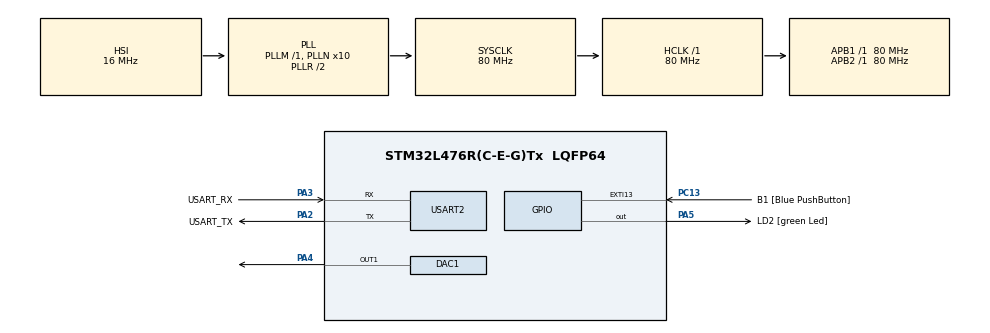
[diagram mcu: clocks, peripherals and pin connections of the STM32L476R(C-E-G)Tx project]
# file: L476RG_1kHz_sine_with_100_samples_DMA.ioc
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Mcu.Family=STM32L4
PA2.GPIO_PuPd=GPIO_NOPULL
RCC.CortexFreq_Value=80000000
PH0-OSC_IN\ (PH0).Signal=RCC_OSC_IN
PA3.GPIO_PuPd=GPIO_NOPULL
PA2.GPIO_Speed=GPIO_SPEED_FREQ_VERY_HIGH
PC15-OSC32_OUT\ (PC15).Mode=LSE-External-Oscillator
PC13.GPIO_Label=B1 [Blue PushButton]
PA3.GPIO_Speed=GPIO_SPEED_FREQ_VERY_HIGH
RCC.SYSCLKSource=RCC_SYSCLKSOURCE_PLLCLK
ProjectManager.StackSize=0x400
PB3\ (JTDO-TRACESWO).Signal=SYS_JTDO-SWO
PC14-OSC32_IN\ (PC14).Mode=LSE-External-Oscillator
NVIC.DMA1_Channel3_IRQn=true\:0\:0\:false\:false\:true\:false\:true
PA14\ (JTCK-SWCLK).Signal=SYS_JTCK-SWCLK
Dma.DAC_CH1.0.Instance=DMA1_Channel3
RCC.HCLKFreq_Value=80000000
RCC.APB2TimFreq_Value=80000000
RCC.AHBFreq_Value=80000000
RCC.PREFETCH_ENABLE=1
RCC.HSE_VALUE=8000000
USART2.VirtualMode-Asynchronous=VM_ASYNC
PA5.GPIO_PuPd=GPIO_NOPULL
PC13.GPIO_PuPd=GPIO_NOPULL
Dma.DAC_CH1.0.PeriphDataAlignment=DMA_PDATAALIGN_HALFWORD
TIM6.Period=799
Mcu.Package=LQFP64
PA2.GPIO_Label=USART_TX
Dma.DAC_CH1.0.Priority=DMA_PRIORITY_LOW
RCC.APB1TimFreq_Value=80000000
PA13\ (JTMS-SWDIO).Signal=SYS_JTMS-SWDIO
Dma.Request0=DAC_CH1
PA3.Signal=USART2_RX
PA2.GPIO_Mode=GPIO_MODE_AF_PP
RCC.MSI_VALUE=4000000
RCC.PLLSourceVirtual=RCC_PLLSOURCE_HSI
PA14\ (JTCK-SWCLK).Mode=Serial_Wire
Dma.DAC_CH1.0.Mode=DMA_CIRCULAR
Dma.DAC_CH1.0.MemDataAlignment=DMA_MDATAALIGN_HALFWORD
PC13.Signal=GPXTI13
VP_TIM6_VS_ClockSourceINT.Mode=Enable_Timer
PC15-OSC32_OUT\ (PC15).Signal=RCC_OSC32_OUT
PA14\ (JTCK-SWCLK).GPIO_Label=TCK
PB3\ (JTDO-TRACESWO).GPIO_Label=SWO
PH1-OSC_OUT\ (PH1).Signal=RCC_OSC_OUT
PA3.Mode=Asynchronous
TIM6.AutoReloadPreload=TIM_AUTORELOAD_PRELOAD_DISABLE
Dma.DAC_CH1.0.Direction=DMA_MEMORY_TO_PERIPH
ProjectManager.TargetToolchain=STM32CubeIDE
PA3.GPIO_Mode=GPIO_MODE_AF_PP
SH.COMP_DAC11_group.0=DAC1_OUT1,DAC_OUT1
Dma.DAC_CH1.0.MemInc=DMA_MINC_ENABLE
RCC.USBFreq_Value=64000000
PA5.Signal=GPIO_Output
board=NUCLEO-L476RG
RCC.VCOOutputFreq_Value=160000000
RCC.APB2Freq_Value=80000000
PA5.GPIO_ModeDefaultOutputPP=GPIO_MODE_OUTPUT_PP
PA13\ (JTMS-SWDIO).GPIO_Label=TMS
RCC.ADCFreq_Value=64000000
TIM6.TIM_MasterOutputTrigger=TIM_TRGO_UPDATE
DAC1.DAC_Trigger-DAC_OUT1=DAC_TRIGGER_T6_TRGO
Mcu.Name=STM32L476R(C-E-G)Tx
PA2.Signal=USART2_TX
PA13\ (JTMS-SWDIO).Mode=Serial_Wire
Dma.DAC_CH1.0.PeriphInc=DMA_PINC_DISABLE
PA4.Signal=COMP_DAC11_group
RCC.SYSCLKFreq_VALUE=80000000
PA5.GPIO_Label=LD2 [green Led]
PC13.GPIO_ModeDefaultEXTI=GPIO_MODE_IT_FALLING
PC14-OSC32_IN\ (PC14).Signal=RCC_OSC32_IN
ProjectManager.HeapSize=0x200
RCC.HSI_VALUE=16000000
PA5.GPIO_Speed=GPIO_SPEED_FREQ_LOW
NVIC.PriorityGroup=NVIC_PRIORITYGROUP_4
RCC.PLLN=10
PA2.Mode=Asynchronous
RCC.APB1Freq_Value=80000000
PA3.GPIO_Label=USART_RX

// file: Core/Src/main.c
/* USER CODE BEGIN Header */
/**
  ******************************************************************************
  * @file           : main.c
  * @brief          : Main program body
  ******************************************************************************
  * @attention
  *
  * <h2><center>&copy; Copyright (c) 2021 STMicroelectronics.
  * All rights reserved.</center></h2>
  *
  * This software component is licensed by ST under BSD 3-Clause license,
  * the "License"; You may not use this file except in compliance with the
  * License. You may obtain a copy of the License at:
  *                        opensource.org/licenses/BSD-3-Clause
  *
  ******************************************************************************
  */
/* USER CODE END Header */
#include "main.h"

DAC_HandleTypeDef hdac1;
DMA_HandleTypeDef hdma_dac_ch1;

TIM_HandleTypeDef htim6;

UART_HandleTypeDef huart2;

void SystemClock_Config(void);
static void MX_GPIO_Init(void);
static void MX_DMA_Init(void);
static void MX_USART2_UART_Init(void);
static void MX_DAC1_Init(void);
static void MX_TIM6_Init(void);

/* USER CODE BEGIN 0 */
static int16_t sine[100] = {
		0x0400, 0x0440, 0x0480, 0x04bf, 0x04fe, 0x053c, 0x0578, 0x05b3, 0x05ec, 0x0624, 0x0659, 0x068c, 0x06bc, 0x06e9, 0x0714, 0x073b,
		0x075f, 0x0780, 0x079d, 0x07b7, 0x07cc, 0x07de, 0x07ec, 0x07f6, 0x07fc, 0x07ff, 0x07fc, 0x07f6, 0x07ec, 0x07de, 0x07cc, 0x07b7,
		0x079d, 0x0780, 0x075f, 0x073b, 0x0714, 0x06e9, 0x06bc, 0x068c, 0x0659, 0x0624, 0x05ec, 0x05b3, 0x0578, 0x053c, 0x04fe, 0x04bf,
		0x0480, 0x0440, 0x0400, 0x03bf, 0x037f, 0x0340, 0x0301, 0x02c3, 0x0287, 0x024c, 0x0213, 0x01db, 0x01a6, 0x0173, 0x0143, 0x0116,
		0x00eb, 0x00c4, 0x00a0, 0x007f, 0x0062, 0x0048, 0x0033, 0x0021, 0x0013, 0x0009, 0x0003, 0x0001, 0x0003, 0x0009, 0x0013, 0x0021,
		0x0033, 0x0048, 0x0062, 0x007f, 0x00a0, 0x00c4, 0x00eb, 0x0116, 0x0143, 0x0173, 0x01a6, 0x01db, 0x0213, 0x024c, 0x0287, 0x02c3,
		0x0301, 0x0340, 0x037f, 0x03bf,

};

static void
setSampleRate(int freq)
{
  int period = (80000000 / freq) - 1;

  htim6.Instance = TIM6;
  htim6.Init.Prescaler = 0;
  htim6.Init.CounterMode = TIM_COUNTERMODE_UP;
  htim6.Init.Period = period;
  htim6.Init.ClockDivision = TIM_CLOCKDIVISION_DIV1;
  htim6.Init.AutoReloadPreload = TIM_AUTORELOAD_PRELOAD_DISABLE;
  HAL_TIM_Base_Init(&htim6);
}

/* USER CODE END 0 */

int main(void)
{

  /* MCU Configuration--------------------------------------------------------*/

  /* Reset of all peripherals, Initializes the Flash interface and the Systick. */
  HAL_Init();

  /* Configure the system clock */
  SystemClock_Config();

  /* Initialize all configured peripherals */
  MX_GPIO_Init();
  MX_DMA_Init();
  MX_USART2_UART_Init();
  MX_DAC1_Init();
  MX_TIM6_Init();
  /* USER CODE BEGIN 2 */

  //setSampleRate(100000); // 100 * 1000 samples per second
  HAL_DAC_Start_DMA(&hdac1, DAC_CHANNEL_1, (uint32_t*)sine, 100, DAC_ALIGN_12B_R);
  HAL_TIM_Base_Start(&htim6);

  /* USER CODE END 2 */

  /* Infinite loop */
  while (1)
  {

  }
}

void SystemClock_Config(void)
{
  RCC_OscInitTypeDef RCC_OscInitStruct = {0};
  RCC_ClkInitTypeDef RCC_ClkInitStruct = {0};
  RCC_PeriphCLKInitTypeDef PeriphClkInit = {0};

  /** Initializes the RCC Oscillators according to the specified parameters
  * in the RCC_OscInitTypeDef structure.
  */
  RCC_OscInitStruct.OscillatorType = RCC_OSCILLATORTYPE_HSI;
  RCC_OscInitStruct.HSIState = RCC_HSI_ON;
  RCC_OscInitStruct.HSICalibrationValue = RCC_HSICALIBRATION_DEFAULT;
  RCC_OscInitStruct.PLL.PLLState = RCC_PLL_ON;
  RCC_OscInitStruct.PLL.PLLSource = RCC_PLLSOURCE_HSI;
  RCC_OscInitStruct.PLL.PLLM = 1;
  RCC_OscInitStruct.PLL.PLLN = 10;
  RCC_OscInitStruct.PLL.PLLP = RCC_PLLP_DIV7;
  RCC_OscInitStruct.PLL.PLLQ = RCC_PLLQ_DIV2;
  RCC_OscInitStruct.PLL.PLLR = RCC_PLLR_DIV2;
  if (HAL_RCC_OscConfig(&RCC_OscInitStruct) != HAL_OK)
  {
    Error_Handler();
  }
  /** Initializes the CPU, AHB and APB buses clocks
  */
  RCC_ClkInitStruct.ClockType = RCC_CLOCKTYPE_HCLK|RCC_CLOCKTYPE_SYSCLK
                              |RCC_CLOCKTYPE_PCLK1|RCC_CLOCKTYPE_PCLK2;
  RCC_ClkInitStruct.SYSCLKSource = RCC_SYSCLKSOURCE_PLLCLK;
  RCC_ClkInitStruct.AHBCLKDivider = RCC_SYSCLK_DIV1;
  RCC_ClkInitStruct.APB1CLKDivider = RCC_HCLK_DIV1;
  RCC_ClkInitStruct.APB2CLKDivider = RCC_HCLK_DIV1;

  if (HAL_RCC_ClockConfig(&RCC_ClkInitStruct, FLASH_LATENCY_4) != HAL_OK)
  {
    Error_Handler();
  }
  PeriphClkInit.PeriphClockSelection = RCC_PERIPHCLK_USART2;
  PeriphClkInit.Usart2ClockSelection = RCC_USART2CLKSOURCE_PCLK1;
  if (HAL_RCCEx_PeriphCLKConfig(&PeriphClkInit) != HAL_OK)
  {
    Error_Handler();
  }
  /** Configure the main internal regulator output voltage
  */
  if (HAL_PWREx_ControlVoltageScaling(PWR_REGULATOR_VOLTAGE_SCALE1) != HAL_OK)
  {
    Error_Handler();
  }
}

static void MX_DAC1_Init(void)
{

  DAC_ChannelConfTypeDef sConfig = {0};

  /** DAC Initialization
  */
  hdac1.Instance = DAC1;
  if (HAL_DAC_Init(&hdac1) != HAL_OK)
  {
    Error_Handler();
  }
  /** DAC channel OUT1 config
  */
  sConfig.DAC_SampleAndHold = DAC_SAMPLEANDHOLD_DISABLE;
  sConfig.DAC_Trigger = DAC_TRIGGER_T6_TRGO;
  sConfig.DAC_OutputBuffer = DAC_OUTPUTBUFFER_ENABLE;
  sConfig.DAC_ConnectOnChipPeripheral = DAC_CHIPCONNECT_DISABLE;
  sConfig.DAC_UserTrimming = DAC_TRIMMING_FACTORY;
  if (HAL_DAC_ConfigChannel(&hdac1, &sConfig, DAC_CHANNEL_1) != HAL_OK)
  {
    Error_Handler();
  }

}

static void MX_TIM6_Init(void)
{

  TIM_MasterConfigTypeDef sMasterConfig = {0};

  htim6.Instance = TIM6;
  htim6.Init.Prescaler = 0;
  htim6.Init.CounterMode = TIM_COUNTERMODE_UP;
  htim6.Init.Period = 799;
  htim6.Init.AutoReloadPreload = TIM_AUTORELOAD_PRELOAD_DISABLE;
  if (HAL_TIM_Base_Init(&htim6) != HAL_OK)
  {
    Error_Handler();
  }
  sMasterConfig.MasterOutputTrigger = TIM_TRGO_UPDATE;
  sMasterConfig.MasterSlaveMode = TIM_MASTERSLAVEMODE_DISABLE;
  if (HAL_TIMEx_MasterConfigSynchronization(&htim6, &sMasterConfig) != HAL_OK)
  {
    Error_Handler();
  }

}

static void MX_USART2_UART_Init(void)
{

  huart2.Instance = USART2;
  huart2.Init.BaudRate = 115200;
  huart2.Init.WordLength = UART_WORDLENGTH_8B;
  huart2.Init.StopBits = UART_STOPBITS_1;
  huart2.Init.Parity = UART_PARITY_NONE;
  huart2.Init.Mode = UART_MODE_TX_RX;
  huart2.Init.HwFlowCtl = UART_HWCONTROL_NONE;
  huart2.Init.OverSampling = UART_OVERSAMPLING_16;
  huart2.Init.OneBitSampling = UART_ONE_BIT_SAMPLE_DISABLE;
  huart2.AdvancedInit.AdvFeatureInit = UART_ADVFEATURE_NO_INIT;
  if (HAL_UART_Init(&huart2) != HAL_OK)
  {
    Error_Handler();
  }

}

static void MX_DMA_Init(void)
{

  /* DMA controller clock enable */
  __HAL_RCC_DMA1_CLK_ENABLE();

  /* DMA interrupt init */
  /* DMA1_Channel3_IRQn interrupt configuration */
  HAL_NVIC_SetPriority(DMA1_Channel3_IRQn, 0, 0);
  HAL_NVIC_EnableIRQ(DMA1_Channel3_IRQn);

}

static void MX_GPIO_Init(void)
{
  GPIO_InitTypeDef GPIO_InitStruct = {0};

  /* GPIO Ports Clock Enable */
  __HAL_RCC_GPIOC_CLK_ENABLE();
  __HAL_RCC_GPIOH_CLK_ENABLE();
  __HAL_RCC_GPIOA_CLK_ENABLE();
  __HAL_RCC_GPIOB_CLK_ENABLE();

  /*Configure GPIO pin Output Level */
  HAL_GPIO_WritePin(LD2_GPIO_Port, LD2_Pin, GPIO_PIN_RESET);

  /*Configure GPIO pin : B1_Pin */
  GPIO_InitStruct.Pin = B1_Pin;
  GPIO_InitStruct.Mode = GPIO_MODE_IT_FALLING;
  GPIO_InitStruct.Pull = GPIO_NOPULL;
  HAL_GPIO_Init(B1_GPIO_Port, &GPIO_InitStruct);

  /*Configure GPIO pin : LD2_Pin */
  GPIO_InitStruct.Pin = LD2_Pin;
  GPIO_InitStruct.Mode = GPIO_MODE_OUTPUT_PP;
  GPIO_InitStruct.Pull = GPIO_NOPULL;
  GPIO_InitStruct.Speed = GPIO_SPEED_FREQ_LOW;
  HAL_GPIO_Init(LD2_GPIO_Port, &GPIO_InitStruct);

}

void Error_Handler(void)
{
  __disable_irq();
  while (1)
  {
  }
}

/************************ (C) COPYRIGHT STMicroelectronics *****END OF FILE****/
